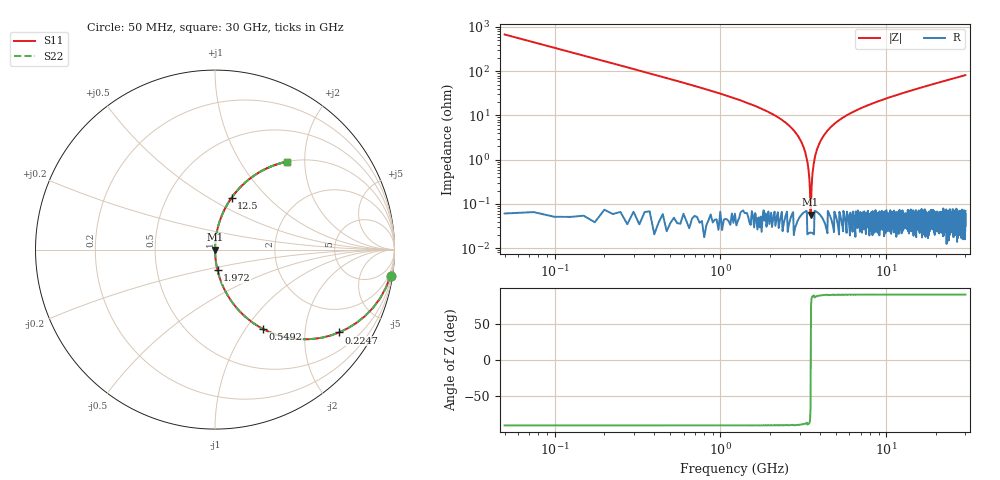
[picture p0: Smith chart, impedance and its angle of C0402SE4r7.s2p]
!	AVX Thin Film Operation 	Date: April 2014
!	Description: Accu-P® Series, Thin Film  SMD RF Capacitor
!	Part Number: 04025J4R7ABSTR
# MHZ S MA R 50
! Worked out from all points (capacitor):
!   1201 points, 50 MHz to 30 GHz, reference 50 ohm
!   read as one part in series: C = 4.7 pF near 199.8 MHz
!   lowest |Z| = 57.2 mohm at 3.494 GHz (marker M1)
!   series resonance near 3.504 GHz, so ESL is about 440 pH
!   S11 on the Smith chart (normalised r, x): 50 MHz: 1, -14; 224.7 MHz: 1.00, -3.00; 549.2 MHz: 1.00, -1.20; 1.972 GHz: 1.00, -0.23; 12.5 GHz: 1.00, +0.64; 30 GHz: 1.00, +1.63
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50  0.989 -8.4  0.146 81.6  0.146 81.6  0.989 -8.4
224.708  0.832 -33.7  0.554 56.3  0.554 56.3  0.832 -33.7
549.167  0.515 -58.9  0.857 31.0  0.857 31.0  0.515 -58.9
1023.375  0.29 -73.1  0.957 16.8  0.957 16.8  0.29 -73.1
1971.792  0.116 -83.1  0.993 6.7  0.993 6.7  0.116 -83.1
2595.75  0.059 -86.2  0.998 3.4  0.998 3.4  0.059 -86.2
2995.083  0.03 -87.4  0.999 1.7  0.999 1.7  0.03 -87.4
3219.708  0.016 -87.5  0.999 0.9  0.999 0.9  0.016 -87.5
3394.417  0.006145 -85.4  1 0.4  1 0.4  0.006145 -85.4
3494.25  0.0006931 -49.5  1 0.0  1 0.0  0.0006931 -49.5
3619.042  0.00627 85.5  1 -0.4  1 -0.4  0.00627 85.5
3793.75  0.015 87.4  0.999 -0.9  0.999 -0.9  0.015 87.4
4018.375  0.027 87.5  0.999 -1.5  0.999 -1.5  0.027 87.5
4467.625  0.047 86.7  0.998 -2.7  0.998 -2.7  0.047 86.7
5041.667  0.072 85.5  0.997 -4.1  0.997 -4.1  0.072 85.5
6988.417  0.143 81.6  0.989 -8.2  0.989 -8.2  0.143 81.6
10058.29  0.237 76.2  0.971 -13.7  0.971 -13.7  0.237 76.2
12504.21  0.303 72.3  0.953 -17.6  0.953 -17.6  0.303 72.3
15025  0.365 68.5  0.931 -21.4  0.931 -21.4  0.365 68.5
20016.67  0.472 61.8  0.881 -28.1  0.881 -28.1  0.472 61.8
25033.29  0.56 55.9  0.828 -34.1  0.828 -34.1  0.56 55.9
30000  0.632 50.8  0.774 -39.2  0.774 -39.2  0.632 50.8
